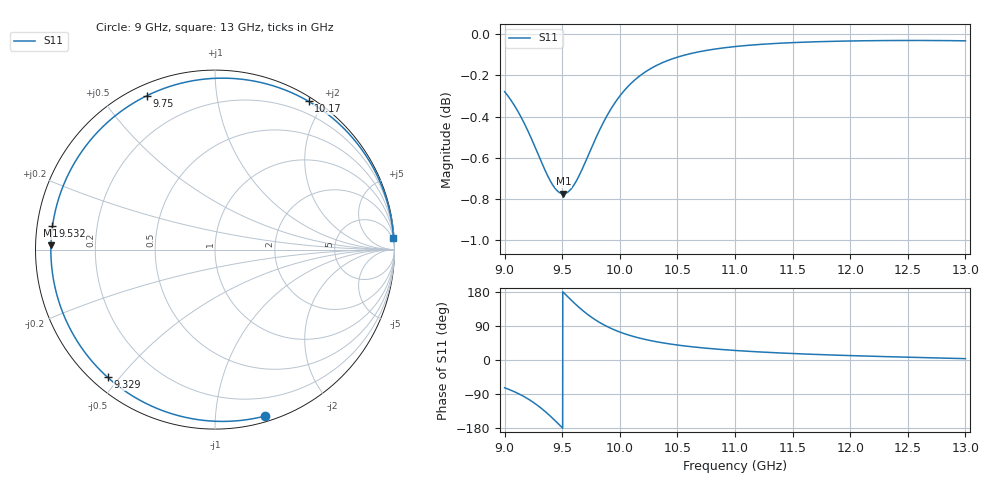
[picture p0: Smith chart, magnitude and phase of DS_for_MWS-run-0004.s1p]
! TOUCHSTONE file generated by CST DESIGN STUDIO
! Date and time: Tue Feb  4 14:04:14 2025
! Project name: C:\Work\MatlabApps\UnitCellOptimizationMatlab\CST\unitcell.cst
! Tree item: Tasks\Sweep1\SPara1\S-Parameters
! Header version: 2024
! Port assignment regex: !\s*Touchstone port\s*([0-9]+)\s*=\s*(CST MWS port|CST DES external port|CST DES block port)\s*(.+)\s* \(\"(.*)\"\)(\s*mode\s*([0-9]+))?.*
! Touchstone port assignment:
! Touchstone port 1 = CST DES external port 1 ("")
# GHz S MA R 50
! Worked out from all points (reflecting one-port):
!   4001 points, 9 GHz to 13 GHz, reference 50 ohm
!   lowest |S11| = -0.8 dB at 9.51 GHz (marker M1), VSWR 22.41, Z = 2.23 + j0.674 ohm
!   phase of S11 starts at -73 deg and turns -283 deg over the sweep
!   S11 on the Smith chart (normalised r, x): 9 GHz: 0.05, -1.34; 9.329 GHz: 0.04, -0.47; 9.532 GHz: 0.04, +0.07; 9.75 GHz: 0.05, +0.65; 10.17 GHz: 0.05, +1.81; 13 GHz: 2, +32
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9  0.9684 -73.3
9.087  0.9607 -84.0
9.19  0.9489 -100.3
9.262  0.9391 -114.5
9.329  0.9297 -130.1
9.375  0.9237 -142.0
9.423  0.9186 -155.5
9.462  0.9158 -167.0
9.5  0.9146 -178.5
9.51  0.9146 178.5
9.532  0.9149 171.8
9.586  0.9177 155.7
9.646  0.9238 138.9
9.697  0.9304 125.9
9.75  0.9378 113.7
9.801  0.9447 103.4
9.858  0.9519 93.3
10  0.966 73.8
10.082  0.9719 65.3
10.172  0.9769 57.7
10.321  0.9828 48.0
10.5  0.9872 39.5
10.722  0.9906 31.9
11  0.9931 25.2
11.5  0.9953 17.1
12  0.9962 11.6
12.5  0.9965 7.3
13  0.9963 3.6
